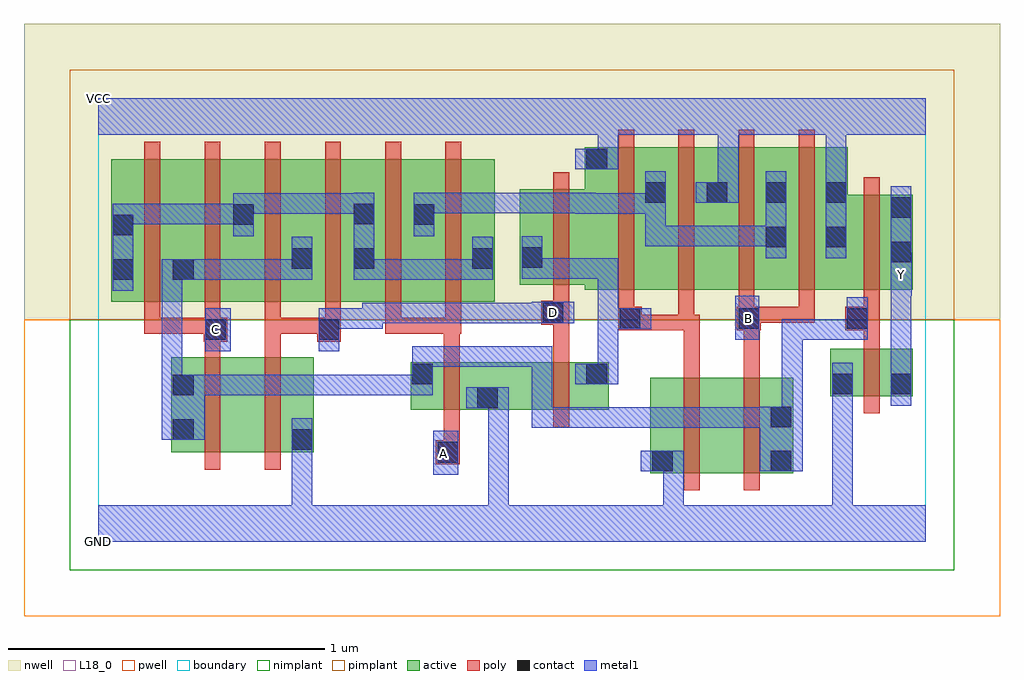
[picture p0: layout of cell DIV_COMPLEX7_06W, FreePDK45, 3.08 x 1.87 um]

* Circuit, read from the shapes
.subckt DIV_COMPLEX7_06W A B C D GND VCC Y
M1 n1 C n2 VSUBS nfet w=0.3u l=0.05u
M2 GND D n1 VSUBS nfet w=0.3u l=0.05u
M3 GND A n2 VSUBS nfet w=0.15u l=0.05u
M4 n3 D GND VSUBS nfet w=0.15u l=0.05u
M5 n4 n3 GND VSUBS nfet w=0.3u l=0.05u
M6 n2 B n4 VSUBS nfet w=0.3u l=0.05u
M7 Y n2 GND VSUBS nfet w=0.15u l=0.05u
M8 n2 C n5 n6 pfet w=0.45u l=0.05u m=2
M9 n2 D n5 n6 pfet w=0.45u l=0.05u m=2
M10 n7 A n5 n6 pfet w=0.45u l=0.05u m=2
M11 VCC D n3 n6 pfet w=0.3u l=0.05u
M12 n7 n3 VCC n6 pfet w=0.45u l=0.05u m=2
M13 n7 B VCC n6 pfet w=0.45u l=0.05u m=2
M14 Y n2 VCC n6 pfet w=0.3u l=0.05u
.ends

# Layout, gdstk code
import gdstk
lib = gdstk.Library(unit=1e-6, precision=1e-09)
def R(c, l, rs):  # rectangles x0, y0, x1, y1
    for r in rs: c.add(gdstk.rectangle(r[:2], r[2:], *l))
def A(c, l, x, y, w, h, nx, ny, dx, dy):  # array of equal rectangles
    R(c, l, [(x+i*dx, y+j*dy, x+i*dx+w, y+j*dy+h) for i in range(nx) for j in range(ny)])
active = (1, 0)
pwell = (2, 0)
nwell = (3, 0)
nimplant = (4, 0)
pimplant = (5, 0)
poly = (9, 0)
contact = (10, 0)
metal1 = (11, 0)
L18_0 = (18, 0)
boundary = (235, 0)

div_complex7_06w = lib.new_cell('DIV_COMPLEX7_06W')
A(div_complex7_06w, active, 0.04, 0.757, 0.075, 0.443, 3, 1, 0.38, 0)
R(div_complex7_06w, active, [(1.742,0.217,1.817,0.517), (1.742,0.217,1.967,0.517), (1.967,0.217,2.192,0.517), (2.117,0.217,2.192,0.517), (0.23,0.282,0.455,0.582), (0.455,0.282,0.68,0.582), (0.605,0.285,0.68,0.582), (0.23,0.317,0.305,0.582), (0.985,0.417,1.06,0.567), (0.985,0.417,1.265,0.567), (1.19,0.417,1.61,0.567), (1.19,0.417,1.265,0.492), (1.535,0.417,1.61,0.567), (2.31,0.46,2.385,0.61), (2.31,0.46,2.57,0.61), (2.495,0.46,2.57,0.61), (0.04,0.757,0.305,1.207), (0.23,0.757,0.495,1.207), (0.23,0.757,0.305,1.07), (0.42,0.757,0.68,1.207), (0.605,0.757,0.875,1.207), (0.605,0.757,0.68,1.07), (0.8,0.757,1.065,1.207), (0.99,0.757,1.25,1.207), (0.99,0.757,1.065,1.2), (1.175,0.757,1.25,1.07), (1.535,0.795,1.795,1.245), (1.72,0.795,1.795,1.2), (1.72,0.795,1.99,1.245), (1.915,0.795,1.99,1.245), (1.915,0.795,2.175,1.245), (2.1,0.795,2.365,1.245), (2.1,0.795,2.175,1.2), (2.29,0.795,2.57,1.095), (2.29,0.795,2.365,1.245), (2.495,0.795,2.57,1.095), (1.33,0.812,1.61,1.112), (1.535,0.857,1.61,1.245), (1.33,0.86,1.405,1.055)])
R(div_complex7_06w, pwell, [(-0.235,-0.235,2.845,0.7)])
R(div_complex7_06w, nwell, [(-0.235,0.7,2.845,1.635)])
R(div_complex7_06w, nimplant, [(-0.09,-0.09,2.7,0.7)])
R(div_complex7_06w, pimplant, [(-0.09,0.7,2.7,1.49)])
A(div_complex7_06w, poly, 0.145, 0.657, 0.05, 0.095, 6, 1, 0.19, 0)
A(div_complex7_06w, poly, 0.145, 0.702, 0.05, 0.56, 6, 1, 0.19, 0)
A(div_complex7_06w, poly, 1.64, 0.74, 0.05, 0.56, 4, 1, 0.19, 0)
R(div_complex7_06w, poly, [(1.847,0.162,1.897,0.572), (2.037,0.162,2.087,0.572), (0.335,0.227,0.385,0.637), (0.525,0.227,0.575,0.637), (1.065,0.245,1.14,0.32), (1.09,0.27,1.14,0.412), (1.09,0.362,1.14,0.622), (1.435,0.362,1.485,0.622), (2.415,0.405,2.465,0.665), (1.847,0.522,1.897,0.717), (2.037,0.522,2.087,0.717), (1.09,0.572,1.14,0.707), (1.435,0.572,1.485,0.735), (0.335,0.587,0.385,0.682), (0.525,0.587,0.575,0.707), (2.415,0.615,2.465,0.717), (0.332,0.632,0.407,0.707), (0.69,0.632,0.765,0.707), (0.145,0.657,0.195,0.707), (0.145,0.657,0.195,0.707), (0.145,0.657,0.195,0.707), (0.145,0.657,0.382,0.707), (0.525,0.657,0.575,0.707), (0.525,0.657,0.74,0.707), (0.69,0.657,0.74,0.707), (0.69,0.657,0.74,0.707), (0.905,0.657,0.955,0.707), (0.905,0.657,1.14,0.707), (1.09,0.657,1.14,0.707), (1.09,0.657,1.14,0.707), (1.09,0.657,1.145,0.707), (1.64,0.667,1.715,0.742), (1.665,0.667,1.715,0.717), (1.665,0.667,1.715,0.717), (1.665,0.667,1.88,0.717), (1.83,0.667,1.88,0.79), (1.83,0.667,1.897,0.717), (2.015,0.667,2.09,0.742), (2.357,0.667,2.465,0.742), (1.397,0.685,1.485,0.76), (1.64,0.692,1.69,0.79), (2.02,0.692,2.07,0.79), (2.04,0.692,2.26,0.742), (2.04,0.692,2.09,0.742), (2.04,0.692,2.09,0.742), (2.21,0.692,2.26,0.79), (2.21,0.692,2.26,0.742), (2.415,0.692,2.465,0.79), (1.435,0.71,1.485,0.807), (2.415,0.74,2.465,1.15), (1.435,0.757,1.485,1.167)])
R(div_complex7_06w, contact, [(1.747,0.222,1.812,0.287), (2.122,0.222,2.187,0.287), (1.07,0.25,1.135,0.315), (0.61,0.29,0.675,0.355), (0.235,0.322,0.3,0.387), (2.122,0.362,2.187,0.427), (1.195,0.422,1.26,0.487), (0.235,0.462,0.3,0.527), (2.315,0.465,2.38,0.53), (2.5,0.465,2.565,0.53), (0.99,0.497,1.055,0.562), (1.54,0.497,1.605,0.562), (0.337,0.637,0.402,0.702), (0.695,0.637,0.76,0.702), (1.645,0.672,1.71,0.737), (2.02,0.672,2.085,0.737), (2.362,0.672,2.427,0.737), (1.402,0.69,1.467,0.755), (0.045,0.827,0.11,0.892), (0.235,0.827,0.3,0.892), (0.61,0.862,0.675,0.927), (0.805,0.862,0.87,0.927), (1.18,0.862,1.245,0.927), (1.335,0.865,1.4,0.93), (2.5,0.882,2.565,0.947), (2.105,0.93,2.17,0.995), (2.295,0.93,2.36,0.995), (0.045,0.967,0.11,1.032), (0.425,1,0.49,1.065), (0.995,1,1.06,1.065), (0.805,1.002,0.87,1.067), (2.5,1.022,2.565,1.087), (1.725,1.07,1.79,1.135), (1.92,1.07,1.985,1.135), (2.105,1.07,2.17,1.135), (2.295,1.07,2.36,1.135), (1.54,1.175,1.605,1.24)])
R(div_complex7_06w, metal1, [(0,0,2.61,0.115), (0.61,0.05,0.675,0.115), (0.61,0.05,0.675,0.115), (0.61,0.05,0.675,0.115), (0.61,0.05,0.675,0.115), (0.61,0.05,0.675,0.32), (1.23,0.05,1.295,0.115), (1.23,0.05,1.295,0.115), (1.23,0.05,1.295,0.115), (1.23,0.05,1.295,0.115), (1.23,0.05,1.295,0.115), (1.23,0.05,1.295,0.115), (1.23,0.05,1.295,0.487), (1.782,0.05,1.847,0.115), (1.782,0.05,1.847,0.115), (1.782,0.05,1.847,0.115), (1.782,0.05,1.847,0.115), (1.782,0.05,1.847,0.287), (2.315,0.05,2.38,0.115), (2.315,0.05,2.38,0.115), (2.315,0.05,2.38,0.495), (1.057,0.212,1.135,0.35), (1.712,0.222,1.847,0.287), (2.087,0.222,2.222,0.427), (0.61,0.255,0.675,0.39), (0.2,0.322,0.335,0.527), (1.367,0.36,1.432,0.425), (1.367,0.36,1.432,0.425), (1.367,0.36,1.432,0.425), (1.367,0.36,1.64,0.425), (1.367,0.36,1.432,0.617), (1.575,0.36,1.64,0.425), (1.575,0.36,1.74,0.425), (1.675,0.36,1.74,0.425), (1.675,0.36,1.79,0.425), (1.725,0.36,1.79,0.425), (1.725,0.36,1.79,0.425), (1.725,0.36,1.79,0.425), (1.725,0.36,1.927,0.425), (1.862,0.36,1.927,0.425), (1.862,0.36,1.927,0.425), (1.862,0.36,1.927,0.425), (1.862,0.36,2.085,0.425), (2.02,0.36,2.085,0.425), (2.02,0.36,2.152,0.425), (2.157,0.362,2.222,0.702), (1.16,0.422,1.295,0.487), (2.315,0.43,2.38,0.495), (2.315,0.43,2.38,0.495), (2.315,0.43,2.38,0.495), (2.315,0.43,2.38,0.495), (2.315,0.43,2.38,0.565), (2.5,0.43,2.565,0.565), (0.2,0.462,0.265,0.527), (0.2,0.462,0.265,0.527), (0.2,0.462,0.265,0.892), (0.27,0.462,0.335,0.527), (0.27,0.462,0.335,0.527), (0.27,0.462,0.472,0.527), (0.407,0.462,0.472,0.527), (0.407,0.462,0.472,0.527), (0.407,0.462,0.472,0.527), (0.407,0.462,0.732,0.527), (0.667,0.462,0.732,0.527), (0.667,0.462,0.732,0.527), (0.667,0.462,0.732,0.527), (0.667,0.462,0.897,0.527), (0.832,0.462,0.897,0.527), (0.832,0.462,0.897,0.527), (0.832,0.462,0.897,0.527), (0.832,0.462,1.055,0.527), (0.99,0.462,1.055,0.597), (1.505,0.497,1.64,0.562), (1.575,0.497,1.64,0.737), (2.5,0.5,2.565,0.842), (0.99,0.532,1.055,0.597), (0.99,0.532,1.055,0.617), (0.99,0.552,1.295,0.617), (1.23,0.552,1.295,0.617), (1.23,0.552,1.432,0.617), (1.367,0.552,1.432,0.617), (0.337,0.602,0.417,0.737), (0.695,0.602,0.76,0.737), (2.01,0.637,2.085,0.777), (2.157,0.637,2.222,0.702), (2.157,0.637,2.222,0.702), (2.157,0.637,2.222,0.702), (2.157,0.637,2.427,0.702), (2.362,0.637,2.427,0.702), (2.362,0.637,2.427,0.702), (2.362,0.637,2.427,0.772), (0.695,0.672,0.897,0.737), (0.832,0.672,0.897,0.737), (0.832,0.672,0.897,0.737), (0.832,0.672,0.897,0.755), (1.575,0.672,1.64,0.737), (1.575,0.672,1.675,0.737), (1.575,0.672,1.64,0.895), (1.61,0.672,1.745,0.737), (0.832,0.69,1.06,0.755), (0.995,0.69,1.06,0.755), (0.995,0.69,1.06,0.755), (0.995,0.69,1.06,0.755), (0.995,0.69,1.197,0.755), (1.132,0.69,1.197,0.755), (1.132,0.69,1.432,0.755), (1.367,0.69,1.432,0.755), (1.367,0.69,1.432,0.755), (1.367,0.69,1.502,0.757), (2.5,0.777,2.567,0.912), (0.045,0.792,0.11,1.067), (0.2,0.827,0.335,0.892), (0.27,0.827,0.335,0.892), (0.27,0.827,0.335,0.892), (0.27,0.827,0.537,0.892), (0.472,0.827,0.537,0.892), (0.472,0.827,0.537,0.892), (0.472,0.827,0.537,0.892), (0.472,0.827,0.675,0.892), (0.61,0.827,0.675,0.962), (0.805,0.827,0.87,0.892), (0.805,0.827,0.87,0.892), (0.805,0.827,0.87,1.102), (0.805,0.827,0.917,0.892), (0.852,0.827,0.917,0.892), (0.852,0.827,1.06,0.892), (0.995,0.827,1.06,0.892), (0.995,0.827,1.06,0.892), (0.995,0.827,1.06,0.892), (0.995,0.827,1.245,0.892), (1.18,0.827,1.245,0.962), (1.335,0.83,1.4,0.965), (1.335,0.83,1.437,0.895), (1.372,0.83,1.437,0.895), (1.372,0.83,1.64,0.895), (1.575,0.83,1.64,0.895), (2.5,0.847,2.565,0.912), (2.5,0.847,2.565,1.122), (2.105,0.895,2.17,1.17), (2.295,0.895,2.36,1.17), (1.725,0.932,1.79,0.997), (1.725,0.932,1.937,0.997), (1.725,0.932,1.79,1.1), (1.872,0.932,1.937,0.997), (1.872,0.932,1.937,0.997), (1.872,0.932,1.937,0.997), (1.872,0.932,2.085,0.997), (2.02,0.932,2.085,0.997), (2.02,0.932,2.17,0.997), (0.425,0.965,0.49,1.1), (0.995,0.965,1.06,1.1), (0.045,1.002,0.11,1.067), (0.045,1.002,0.11,1.067), (0.045,1.002,0.247,1.067), (0.182,1.002,0.247,1.067), (0.182,1.002,0.247,1.067), (0.182,1.002,0.247,1.067), (0.182,1.002,0.49,1.067), (0.425,1.035,0.49,1.1), (0.425,1.035,0.49,1.1), (0.425,1.035,0.732,1.1), (0.667,1.035,0.732,1.1), (0.667,1.035,0.732,1.1), (0.667,1.035,0.732,1.1), (0.667,1.035,0.87,1.1), (0.995,1.035,1.06,1.1), (0.995,1.035,1.06,1.102), (1.505,1.035,1.79,1.1), (1.505,1.035,1.57,1.102), (1.725,1.035,1.79,1.1), (1.725,1.035,1.79,1.1), (1.725,1.035,1.79,1.17), (0.995,1.037,1.295,1.102), (1.23,1.037,1.295,1.102), (1.23,1.037,1.295,1.102), (1.23,1.037,1.295,1.102), (1.23,1.037,1.47,1.102), (1.405,1.037,1.47,1.102), (1.405,1.037,1.57,1.102), (1.885,1.07,2.02,1.135), (1.955,1.07,2.02,1.35), (2.295,1.105,2.36,1.35), (1.505,1.175,1.64,1.24), (1.575,1.175,1.64,1.35), (0,1.285,2.61,1.4)])
R(div_complex7_06w, L18_0, [(0,0,2.61,0.115), (0.61,0.05,0.675,0.115), (0.61,0.05,0.675,0.115), (0.61,0.05,0.675,0.115), (0.61,0.05,0.675,0.115), (0.61,0.05,0.675,0.32), (1.23,0.05,1.295,0.115), (1.23,0.05,1.295,0.115), (1.23,0.05,1.295,0.115), (1.23,0.05,1.295,0.115), (1.23,0.05,1.295,0.115), (1.23,0.05,1.295,0.115), (1.23,0.05,1.295,0.487), (1.782,0.05,1.847,0.115), (1.782,0.05,1.847,0.115), (1.782,0.05,1.847,0.115), (1.782,0.05,1.847,0.115), (1.782,0.05,1.847,0.287), (2.315,0.05,2.38,0.115), (2.315,0.05,2.38,0.115), (2.315,0.05,2.38,0.495), (1.057,0.212,1.135,0.35), (1.712,0.222,1.847,0.287), (1.057,0.247,1.122,0.312), (0.61,0.255,0.675,0.39), (1.16,0.422,1.295,0.487), (2.315,0.43,2.38,0.495), (2.315,0.43,2.38,0.495), (2.315,0.43,2.38,0.495), (2.315,0.43,2.38,0.495), (2.315,0.43,2.38,0.565), (2.5,0.43,2.565,0.565), (2.5,0.5,2.565,0.842), (0.337,0.602,0.417,0.737), (0.695,0.602,0.76,0.737), (0.337,0.637,0.402,0.702), (2.01,0.637,2.085,0.777), (0.695,0.672,0.897,0.737), (0.832,0.672,0.897,0.737), (0.832,0.672,0.897,0.737), (0.832,0.672,0.897,0.755), (2.017,0.672,2.082,0.737), (0.832,0.69,1.06,0.755), (0.995,0.69,1.06,0.755), (0.995,0.69,1.06,0.755), (0.995,0.69,1.06,0.755), (0.995,0.69,1.197,0.755), (1.132,0.69,1.197,0.755), (1.132,0.69,1.432,0.755), (1.367,0.69,1.432,0.755), (1.367,0.69,1.432,0.755), (1.367,0.69,1.502,0.757), (1.402,0.692,1.467,0.757), (2.5,0.777,2.567,0.912), (2.502,0.812,2.567,0.877), (2.5,0.847,2.565,0.912), (2.5,0.847,2.565,1.122), (2.295,0.895,2.36,1.17), (1.885,1.07,2.02,1.135), (1.955,1.07,2.02,1.35), (2.295,1.105,2.36,1.35), (1.505,1.175,1.64,1.24), (1.575,1.175,1.64,1.35), (0,1.285,2.61,1.4)])
R(div_complex7_06w, boundary, [(0,0,2.61,1.4)])
div_complex7_06w.add(gdstk.Label('A', (1.09,0.28), layer=11, texttype=0))
div_complex7_06w.add(gdstk.Label('B', (2.05,0.705), layer=11, texttype=0))
div_complex7_06w.add(gdstk.Label('C', (0.37,0.67), layer=11, texttype=0))
div_complex7_06w.add(gdstk.Label('D', (1.435,0.725), layer=11, texttype=0))
div_complex7_06w.add(gdstk.Label('Y', (2.535,0.845), layer=11, texttype=0))
div_complex7_06w.add(gdstk.Label('VCC', (0,1.4), layer=11, texttype=0))
div_complex7_06w.add(gdstk.Label('GND', (0,0), layer=11, texttype=0))

lib.write_gds('DIV_COMPLEX7_06W.gds')
